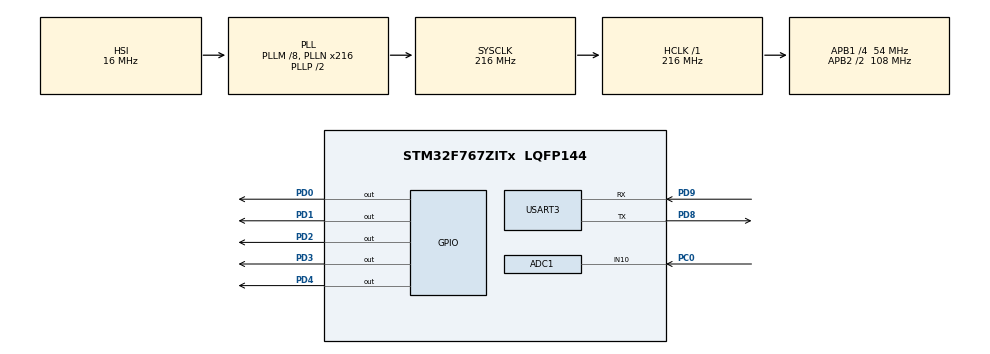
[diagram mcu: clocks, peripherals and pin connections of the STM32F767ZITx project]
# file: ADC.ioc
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ADC1.Channel-0\#ChannelRegularConversion=ADC_CHANNEL_10
ADC1.ContinuousConvMode=ENABLE
ADC1.EOCSelection=ADC_EOC_SEQ_CONV
ADC1.NbrOfConversionFlag=1
ADC1.Rank-0\#ChannelRegularConversion=1
ADC1.SamplingTime-0\#ChannelRegularConversion=ADC_SAMPLETIME_3CYCLES
ADC1.master=1
Mcu.Family=STM32F7
Mcu.Name=STM32F767ZITx
Mcu.Package=LQFP144
NVIC.PriorityGroup=NVIC_PRIORITYGROUP_4
NVIC.USART3_IRQn=true\:0\:0\:false\:false\:true\:true\:true\:true
PC0.Signal=ADCx_IN10
PD0.Signal=GPIO_Output
PD1.Signal=GPIO_Output
PD2.Signal=GPIO_Output
PD3.Signal=GPIO_Output
PD4.Signal=GPIO_Output
PD8.Mode=Asynchronous
PD8.Signal=USART3_TX
PD9.Mode=Asynchronous
PD9.Signal=USART3_RX
ProjectManager.HeapSize=0x200
ProjectManager.StackSize=0x400
ProjectManager.TargetToolchain=STM32CubeIDE
RCC.AHBFreq_Value=216000000
RCC.APB1CLKDivider=RCC_HCLK_DIV4
RCC.APB1Freq_Value=54000000
RCC.APB1TimFreq_Value=108000000
RCC.APB2CLKDivider=RCC_HCLK_DIV2
RCC.APB2Freq_Value=108000000
RCC.APB2TimFreq_Value=216000000
RCC.CortexFreq_Value=216000000
RCC.HCLKFreq_Value=216000000
RCC.HSE_VALUE=25000000
RCC.HSI_VALUE=16000000
RCC.LSE_VALUE=32768
RCC.PLLM=8
RCC.PLLN=216
RCC.SYSCLKFreq_VALUE=216000000
RCC.SYSCLKSource=RCC_SYSCLKSOURCE_PLLCLK
RCC.USBFreq_Value=216000000
RCC.VCOOutputFreq_Value=432000000
SH.ADCx_IN10.0=ADC1_IN10,IN10
USART3.VirtualMode-Asynchronous=VM_ASYNC
board=custom

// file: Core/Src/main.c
/* USER CODE BEGIN Header */
/**
  ******************************************************************************
  * @file           : main.c
  * @brief          : Main program body
  ******************************************************************************
  * @attention
  *
  * Copyright (c) 2023 STMicroelectronics.
  * All rights reserved.
  *
  * This software is licensed under terms that can be found in the LICENSE file
  * in the root directory of this software component.
  * If no LICENSE file comes with this software, it is provided AS-IS.
  *
  ******************************************************************************
  */
/* USER CODE END Header */
#include "main.h"
#include "adc.h"
#include "usart.h"
#include "gpio.h"

/* USER CODE BEGIN PV */
volatile uint32_t adc_val = 0;
char buffer[300];
int avg;
float volt;

int average_8(int x){
	static int samples[8];
	static int i = 0;
	static int total = 0;

	total += x - samples[i];
	samples[i] = x;

	i = (i==7 ? 0 : i+1);

	return total>>3;
}

int average_16(int x){
	static int samples[16];
	static int i = 0;
	static int total = 0;

	total += x - samples[i];
	samples[i] = x;

	i = (i==15 ? 0 : i+1);

	return total>>4;
}

/* USER CODE END PV */

void SystemClock_Config(void);
static void MPU_Initialize(void);
static void MPU_Config(void);

int main(void)
{

  /* MCU Configuration--------------------------------------------------------*/

  /* Reset of all peripherals, Initializes the Flash interface and the Systick. */
  HAL_Init();

  /* MPU Configuration--------------------------------------------------------*/
  MPU_Config();

  /* Configure the system clock */
  SystemClock_Config();

  /* Initialize all configured peripherals */
  MX_GPIO_Init();
  MX_ADC1_Init();
  MX_USART3_UART_Init();
  /* USER CODE BEGIN 2 */
  HAL_ADC_Start(&hadc1);

  void displayHex(int x, float v){
	  snprintf(buffer, 300, "%d 0x%.8X %.1f V\r\n", x, x, v);
	  HAL_UART_Transmit(&huart3, (uint8_t*) buffer, strlen(buffer), 1000);
  }
  /* USER CODE END 2 */

  /* Infinite loop */
  while (1)
  {

    /* USER CODE BEGIN 3 */
	  while(HAL_ADC_PollForConversion(&hadc1,100) != HAL_OK){}
	  adc_val = HAL_ADC_GetValue(&hadc1);
	  avg = average_8(adc_val);
	  volt = avg*(5.0/4095);
	  displayHex(avg, volt);
	  if (volt<1){
		  HAL_GPIO_WritePin(GPIOD, GPIO_PIN_0, GPIO_PIN_SET);
		  HAL_GPIO_WritePin(GPIOD, GPIO_PIN_1 | GPIO_PIN_2 | GPIO_PIN_3 | GPIO_PIN_4, GPIO_PIN_RESET);
	  }
	  else if (volt<2){
		  HAL_GPIO_WritePin(GPIOD, GPIO_PIN_0 | GPIO_PIN_1, GPIO_PIN_SET);
		  HAL_GPIO_WritePin(GPIOD, GPIO_PIN_2 | GPIO_PIN_3 | GPIO_PIN_4, GPIO_PIN_RESET);
	  }
	  else if (volt<3){
		  HAL_GPIO_WritePin(GPIOD, GPIO_PIN_0 | GPIO_PIN_1 | GPIO_PIN_2, GPIO_PIN_SET);
		  HAL_GPIO_WritePin(GPIOD, GPIO_PIN_3 | GPIO_PIN_4, GPIO_PIN_RESET);
	  }
	  else if (volt<4){
		  HAL_GPIO_WritePin(GPIOD, GPIO_PIN_0 | GPIO_PIN_1 | GPIO_PIN_2 | GPIO_PIN_3, GPIO_PIN_SET);
		  HAL_GPIO_WritePin(GPIOD, GPIO_PIN_4, GPIO_PIN_RESET);
	  }
	  else{
		  HAL_GPIO_WritePin(GPIOD, GPIO_PIN_0 | GPIO_PIN_1 | GPIO_PIN_2 | GPIO_PIN_3 | GPIO_PIN_4, GPIO_PIN_SET);
	  }
	  HAL_Delay(500);
  }
  /* USER CODE END 3 */
}

void SystemClock_Config(void)
{
  RCC_OscInitTypeDef RCC_OscInitStruct = {0};
  RCC_ClkInitTypeDef RCC_ClkInitStruct = {0};

  /** Configure the main internal regulator output voltage
  */
  __HAL_RCC_PWR_CLK_ENABLE();
  __HAL_PWR_VOLTAGESCALING_CONFIG(PWR_REGULATOR_VOLTAGE_SCALE1);

  /** Initializes the RCC Oscillators according to the specified parameters
  * in the RCC_OscInitTypeDef structure.
  */
  RCC_OscInitStruct.OscillatorType = RCC_OSCILLATORTYPE_HSI;
  RCC_OscInitStruct.HSIState = RCC_HSI_ON;
  RCC_OscInitStruct.HSICalibrationValue = RCC_HSICALIBRATION_DEFAULT;
  RCC_OscInitStruct.PLL.PLLState = RCC_PLL_ON;
  RCC_OscInitStruct.PLL.PLLSource = RCC_PLLSOURCE_HSI;
  RCC_OscInitStruct.PLL.PLLM = 8;
  RCC_OscInitStruct.PLL.PLLN = 216;
  RCC_OscInitStruct.PLL.PLLP = RCC_PLLP_DIV2;
  RCC_OscInitStruct.PLL.PLLQ = 2;
  RCC_OscInitStruct.PLL.PLLR = 2;
  if (HAL_RCC_OscConfig(&RCC_OscInitStruct) != HAL_OK)
  {
    Error_Handler();
  }

  /** Activate the Over-Drive mode
  */
  if (HAL_PWREx_EnableOverDrive() != HAL_OK)
  {
    Error_Handler();
  }

  /** Initializes the CPU, AHB and APB buses clocks
  */
  RCC_ClkInitStruct.ClockType = RCC_CLOCKTYPE_HCLK|RCC_CLOCKTYPE_SYSCLK
                              |RCC_CLOCKTYPE_PCLK1|RCC_CLOCKTYPE_PCLK2;
  RCC_ClkInitStruct.SYSCLKSource = RCC_SYSCLKSOURCE_PLLCLK;
  RCC_ClkInitStruct.AHBCLKDivider = RCC_SYSCLK_DIV1;
  RCC_ClkInitStruct.APB1CLKDivider = RCC_HCLK_DIV4;
  RCC_ClkInitStruct.APB2CLKDivider = RCC_HCLK_DIV2;

  if (HAL_RCC_ClockConfig(&RCC_ClkInitStruct, FLASH_LATENCY_7) != HAL_OK)
  {
    Error_Handler();
  }
}

/* MPU Configuration */

void MPU_Config(void)
{
  MPU_Region_InitTypeDef MPU_InitStruct = {0};

  /* Disables the MPU */
  HAL_MPU_Disable();

  /** Initializes and configures the Region and the memory to be protected
  */
  MPU_InitStruct.Enable = MPU_REGION_ENABLE;
  MPU_InitStruct.Number = MPU_REGION_NUMBER0;
  MPU_InitStruct.BaseAddress = 0x0;
  MPU_InitStruct.Size = MPU_REGION_SIZE_4GB;
  MPU_InitStruct.SubRegionDisable = 0x87;
  MPU_InitStruct.TypeExtField = MPU_TEX_LEVEL0;
  MPU_InitStruct.AccessPermission = MPU_REGION_NO_ACCESS;
  MPU_InitStruct.DisableExec = MPU_INSTRUCTION_ACCESS_DISABLE;
  MPU_InitStruct.IsShareable = MPU_ACCESS_SHAREABLE;
  MPU_InitStruct.IsCacheable = MPU_ACCESS_NOT_CACHEABLE;
  MPU_InitStruct.IsBufferable = MPU_ACCESS_NOT_BUFFERABLE;

  HAL_MPU_ConfigRegion(&MPU_InitStruct);
  /* Enables the MPU */
  HAL_MPU_Enable(MPU_PRIVILEGED_DEFAULT);

}

void Error_Handler(void)
{
  __disable_irq();
  while (1)
  {
  }
}
